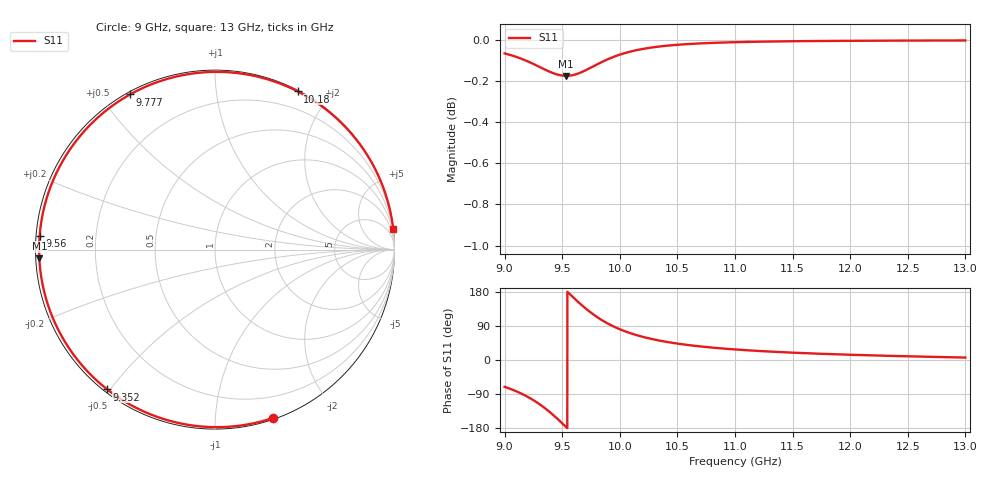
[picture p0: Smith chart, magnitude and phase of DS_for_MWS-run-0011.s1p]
! TOUCHSTONE file generated by CST DESIGN STUDIO
! Date and time: Tue Feb  4 17:40:40 2025
! Project name: C:\Work\MatlabApps\UnitCellOptimizationMatlab\CST\unitcell.cst
! Tree item: Tasks\Sweep1\SPara1\S-Parameters
! Header version: 2024
! Port assignment regex: !\s*Touchstone port\s*([0-9]+)\s*=\s*(CST MWS port|CST DES external port|CST DES block port)\s*(.+)\s* \(\"(.*)\"\)(\s*mode\s*([0-9]+))?.*
! Touchstone port assignment:
! Touchstone port 1 = CST DES external port 1 ("")
# GHz S MA R 50
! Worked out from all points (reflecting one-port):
!   4001 points, 9 GHz to 13 GHz, reference 50 ohm
!   lowest |S11| = -0.2 dB at 9.535 GHz (marker M1), VSWR 99.14, Z = 0.505 - j1.26 ohm
!   phase of S11 starts at -71 deg and turns -283 deg over the sweep
!   S11 on the Smith chart (normalised r, x): 9 GHz: 0.01, -1.40; 9.352 GHz: 0.01, -0.49; 9.56 GHz: 0.01, +0.04; 9.777 GHz: 0.01, +0.59; 10.18 GHz: 0.01, +1.65; 13 GHz: 0, +18
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9  0.9924 -70.9
9.099  0.9905 -82.3
9.208  0.9878 -98.5
9.284  0.9855 -112.7
9.352  0.9834 -127.6
9.423  0.9815 -145.5
9.463  0.9807 -156.4
9.5  0.9802 -167.0
9.535  0.98 -177.1
9.56  0.9801 175.6
9.615  0.9808 159.7
9.675  0.9822 143.3
9.726  0.9838 130.4
9.777  0.9855 118.7
9.825  0.9871 108.9
9.876  0.9886 99.5
9.933  0.9902 90.4
10  0.9917 81.2
10.088  0.9934 71.1
10.184  0.9947 62.4
10.329  0.9961 52.1
10.5  0.9972 43.3
10.721  0.9981 35.1
11  0.9987 27.8
11.5  0.9992 19.4
12  0.9994 13.8
12.5  0.9996 9.7
13  0.9996 6.4
